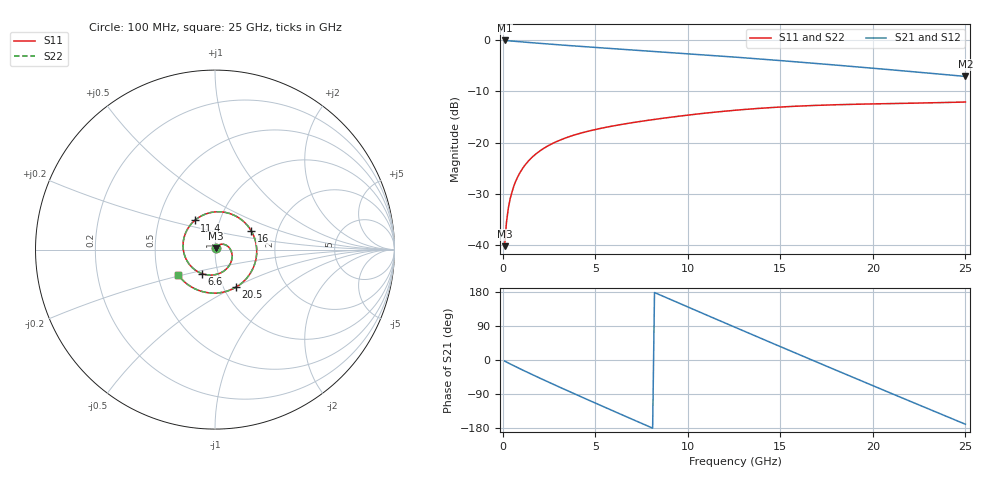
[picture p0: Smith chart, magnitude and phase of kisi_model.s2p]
! kisi D_s8_stitch_none: fast channel model (formula impedances, via model), up to 25 GHz
# Hz S RI R 50
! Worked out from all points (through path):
!   250 points, 100 MHz to 25 GHz, reference 50 ohm
!   highest |S21| = -0.04 dB at 100 MHz (marker M1); lowest = -7.1 dB at 25 GHz (marker M2)
!   group delay of S21, straight-line fit = 58.3 ps
!   lowest |S11| = -40.2 dB at 100 MHz (marker M3), VSWR 1.02, Z = 50.4 + j0.874 ohm
!   |S11| at or under -10 dB: start of sweep to end of sweep
!   |S22| runs from -40.2 to -12.1 dB; largest |S21 - S12| = 0
!   S11 on the Smith chart (normalised r, x): 100 MHz: 1.01, +0.02; 6.6 GHz: 0.83, -0.23; 11.4 GHz: 0.76, +0.26; 16 GHz: 1.47, +0.32; 20.5 GHz: 1.14, -0.51; 25 GHz: 0.64, -0.19
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1e8  0.00442 0.00867  0.9941 -0.0483  0.9941 -0.0483  0.00442 0.00867
2e8  0.00819 0.0145  0.9873 -0.0929  0.9873 -0.0929  0.00819 0.0145
4e8  0.0167 0.0229  0.9684 -0.1779  0.9684 -0.1779  0.0167 0.0229
1.1e9  0.0488 0.0293  0.8554 -0.4378  0.8554 -0.4378  0.0488 0.0293
2.7e9  0.0947 -0.0263  0.4085 -0.8153  0.4085 -0.8153  0.0947 -0.0263
3.5e9  0.0895 -0.0686  0.1386 -0.8786  0.1386 -0.8786  0.0895 -0.0686
4.3e9  0.0644 -0.1071  -0.1282 -0.8589  -0.1282 -0.8589  0.0644 -0.1071
5.4e9  0.00479 -0.139  -0.4488 -0.7112  -0.4488 -0.7112  0.00479 -0.139
6.6e9  -0.0741 -0.1332  -0.6889 -0.4312  -0.6889 -0.4312  -0.0741 -0.1332
7.5e9  -0.1272 -0.0997  -0.7725 -0.1766  -0.7725 -0.1766  -0.1272 -0.0997
8.4e9  -0.1642 -0.0461  -0.7681 0.0838  -0.7681 0.0838  -0.1642 -0.0461
1e10  -0.171 0.0722  -0.5652 0.4749  -0.5652 0.4749  -0.171 0.0722
1.14e10  -0.1128 0.1625  -0.2482 0.6636  -0.2482 0.6636  -0.1128 0.1625
1.26e10  -0.0291 0.2053  0.0553 0.6809  0.0553 0.6809  -0.0291 0.2053
1.44e10  0.1107 0.1893  0.4335 0.4781  0.4335 0.4781  0.1107 0.1893
1.6e10  0.2027 0.1029  0.5925 0.1542  0.5925 0.1542  0.2027 0.1029
1.67e10  0.2243 0.0513  0.598 0.00117  0.598 0.00117  0.2243 0.0513
1.87e10  0.2115 -0.1048  0.4207 -0.3668  0.4207 -0.3668  0.2115 -0.1048
2.05e10  0.1166 -0.2096  0.1091 -0.512  0.1091 -0.512  0.1166 -0.2096
2.09e10  0.0881 -0.2238  0.0347 -0.5149  0.0347 -0.5149  0.0881 -0.2238
2.31e10  -0.0832 -0.23  -0.3122 -0.3594  -0.3122 -0.3594  -0.0832 -0.23
2.5e10  -0.204 -0.1431  -0.4358 -0.0804  -0.4358 -0.0804  -0.204 -0.1431
